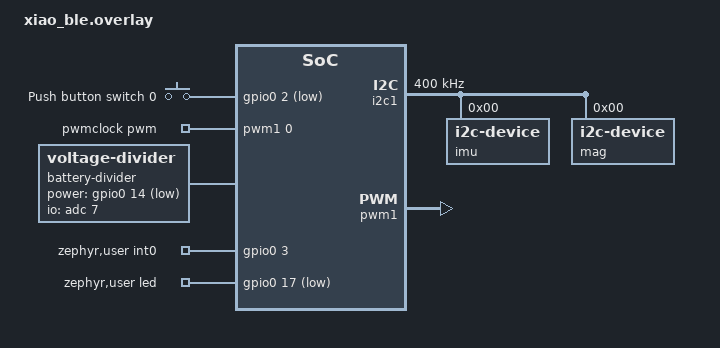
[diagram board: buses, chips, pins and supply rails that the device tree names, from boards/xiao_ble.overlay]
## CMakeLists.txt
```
#
# Copyright (c) 2023 Nordic Semiconductor
#
# SPDX-License-Identifier: LicenseRef-Nordic-5-Clause
#
cmake_minimum_required(VERSION 3.20.0)

find_package(Zephyr REQUIRED HINTS $ENV{ZEPHYR_BASE})
project(NONE)

# NORDIC SDK APP START
FILE(GLOB_RECURSE app_sources src/*.c)
target_sources(app PRIVATE ${app_sources})

# NORDIC SDK APP END

FILE(GLOB_RECURSE files Fusion/Fusion/*.c)
target_sources(app PRIVATE ${files})

#FILE(GLOB_RECURSE files NXP-ISSDK-SensorFusion/sources/*.c)
#target_sources(app PRIVATE ${files})

FILE(GLOB_RECURSE files vqf-c/src/*.c)
target_sources(app PRIVATE ${files})

target_include_directories(app PRIVATE src)
target_include_directories(app PRIVATE Fusion/Fusion)
#target_include_directories(app PRIVATE NXP-ISSDK-SensorFusion/sources)
target_include_directories(app PRIVATE vqf-c/src)

# Force recompile for updated build timestamp
add_custom_target(touch_util_h ALL
    COMMAND ${CMAKE_COMMAND} -E touch ${CMAKE_SOURCE_DIR}/src/build_defines.h
)
```

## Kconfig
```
#
# Copyright (c) 2023 Nordic Semiconductor
#
# SPDX-License-Identifier: LicenseRef-Nordic-5-Clause
#

source "Kconfig.zephyr"

menu "SlimeNRF"

config USE_SLIMENRF_CONSOLE
    bool "Use basic console"
    default y
    depends on USB_DEVICE_STACK
    help
        Use basic console for commands.

choice
	prompt "Battery voltage mapping"
    default BATTERY_NO_MAPPING

config BATTERY_USE_REG_BUCK_MAPPING
    bool "Use buck regulator mapping (3.7V battery, DCDC)"
    help
      Use a constant power mapping for battery voltage.
      Preffered for systems with a buck regulator.
      Measured at a system voltage of 3.0V.

config BATTERY_USE_REG_LDO_MAPPING
    bool "Use LDO linear regulator mapping (3.7V battery, LDO)"
    help
      Use a constant current mapping for battery voltage.
      Preferred for systems with a linear regulator.

config BATTERY_NO_MAPPING
    bool "Disable battery voltage mapping"
    help
      Always map to 100% battery. Disables battery monitoring.

endchoice

choice
	prompt "Status LED color mapping"
    default LED_TRI_COLOR

config LED_RGB_COLOR
    bool "Use RGB color mapping"
    help
        Use RGB or RG color mapping for LED status if available.

config LED_TRI_COLOR
    bool "Use default color mapping"
    help
        Use the default color mapping for LED status.

endchoice

config IGNORE_RESET
    bool "Ignore reset"
    default y
    help
        If sw0 is available, don't change any reset behavior.

config USER_SHUTDOWN
    bool "User shutdown support"
    default y
    help
        Allow user to use reset or sw0 to shutdown.

config USE_IMU_WAKE_UP
    bool "IMU wake up support"
    default y
    help
        Use IMU wake up state if IMU wake up is present.

config DELAY_SLEEP_ON_STATUS
    bool "Delay IMU wake up mode on status flags"
    default y
    depends on USE_IMU_WAKE_UP
    help
        Delay IMU wake up state if there is an active status flag or in pairing mode.

config WOM_USE_DCDC
    bool "Use DCDC in IMU wake up mode"
    depends on USE_IMU_WAKE_UP
    help
        Use DCDC instead of LDO in IMU wake up state if it is more efficient.

menu "Sensor power saving"

config SENSOR_LP_TIMEOUT
    int "Sensor low power delay (ms)"
    default 500
    help
        Low power timeout during no motion.

config SENSOR_USE_LOW_POWER_2
    bool "Use additional low power modes"
    help
        Use a higher latency sensor mode during no motion.

config USE_IMU_TIMEOUT
    bool "Use IMU wake up state"
    default y
    depends on USE_IMU_WAKE_UP
    help
        Use IMU wake up state during no motion.

config IMU_TIMEOUT_RAMP_MIN
    int "Sensor timeout minimum delay (ms)"
    default 1000
    depends on USE_IMU_TIMEOUT || SENSOR_USE_LOW_POWER_2
    help
        Minimum timeout during no motion.

config IMU_TIMEOUT_RAMP_MAX
    int "Sensor timeout maximum delay (ms)"
    default 15000
    depends on USE_IMU_TIMEOUT || SENSOR_USE_LOW_POWER_2
    help
        Maximum timeout during no motion.

config USE_ACTIVE_TIMEOUT
    bool "Use activity timeout"
    default y
    depends on USE_IMU_WAKE_UP || USER_SHUTDOWN
    help
        Delay IMU wake up state or user shutdown during activity.

choice 
    prompt "Activity timeout mode"
    default SLEEP_ON_ACTIVE_TIMEOUT
    depends on USE_ACTIVE_TIMEOUT

config SLEEP_ON_ACTIVE_TIMEOUT
    bool "IMU wake up"
    depends on USE_IMU_WAKE_UP
    help
        Use IMU wake up state when activity timeout elapses.

config SHUTDOWN_ON_ACTIVE_TIMEOUT
    bool "User shutdown"
    depends on USER_SHUTDOWN
    help
        Use user shutdown when activity timeout elapses.

endchoice

config ACTIVE_TIMEOUT_THRESHOLD
    int "Activity timeout threshold (ms)"
    default 15000
    depends on USE_ACTIVE_TIMEOUT
    help
        Trigger activity timeout after a certain threshold of activity.

config ACTIVE_TIMEOUT_DELAY
    int "Activity timeout delay (ms)"
    default 900000
    depends on USE_ACTIVE_TIMEOUT
    help
        Activity timeout duration when triggered.

endmenu

config SENSOR_ACCEL_ODR
    int "Accelerometer output data rate (Hz)"
    default 200
    help
        Requested accelerometer output data rate. Actual rate will be raised to the nearest supported rate.
        A higher rate will increase the time to read and process sensor data.

config SENSOR_GYRO_ODR
    int "Gyrometer output data rate (Hz)"
    default 800
    help
        Requested gyrometer output data rate. Actual rate will be raised to the nearest supported rate.
        A higher rate will increase the time to read and process sensor data.
        400Hz is recommended for IMUs with poor gyrometer rate noise density. (Ex. BMI270, LSM6DS3TR-C)

config SENSOR_USE_MAG
    bool "Magnetometer support"
    default y
    help
        Use magnetometer if it is present.

config USE_SENSOR_CLOCK
    bool "Use external IMU clock"
    default y
    help
        Use external IMU clock if it is present.

choice
	prompt "Sensor fusion"
    default SENSOR_USE_VQF
    help
        Select the sensor fusion method.

config SENSOR_USE_XIOFUSION
    bool "Use x-io Technologies Fusion"
    help
        Use x-io Technologies Fusion for sensor fusion.
        Based on Madgwick filter.

config SENSOR_USE_VQF
    bool "Use VQF"
    help
        Use VQF for sensor fusion.
        Based on Kalman filter.

endchoice

config SENSOR_USE_6_SIDE_CALIBRATION
    bool "Use 6-side calibration"
    default y
    depends on USE_SLIMENRF_CONSOLE
    help
        Use 6-side calibration for accelerometer.
        Calibration can be completed through the basic console.

config RADIO_TX_POWER
    int "Radio output power (dBm)"
    default 8
    help
        Radio output power level.
        A lower value may reduce power consumption.

endmenu
```

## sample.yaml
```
tests:
  common:
    platform_allow:
      - nrf52840dk/nrf52840
      - nrf52840dongle/nrf52840
      - nrf52dk/nrf52832
      - xiao_ble/nrf52840
      - xiao_ble/nrf52840/sense
      - nrf5340dk/nrf5340/cpuapp
      - nrf5340dk/nrf5340/cpunet
      - nrf54l15dk/nrf54l15/cpuapp
    sysbuild: true
```

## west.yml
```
manifest:
  version: "0.10"
  projects:

    # nRF-Connect SDK
    - name: sdk-nrf
      path: nrf
      url: https://github.com/nrfconnect/sdk-nrf.git
      revision: v2.9-branch
      import: true

    # SlimeVR-Tracker-nRF
    # Change the below to your repository if you are forking to build your custom firmware
    - name: SlimeVR-Tracker-nRF
      url: https://github.com/SlimeVR/SlimeVR-Tracker-nRF.git
      path: SlimeVR-Tracker-nRF
      revision: master

      # Stacked-SmolSlime
    - name: Stacked-SmolSlime
      url: https://github.com/LyallUlric/Stacked-SmolSlime.git
      path: Stacked-SmolSlime
      revision: master

    # vqf-c
    - name: vqf-c
      url: https://github.com/sctanf/vqf-c.git
      path: SlimeVR-Tracker-nRF/vqf-c
      revision: master

    # Fusion
    - name: Fusion
      url: https://github.com/xioTechnologies/Fusion.git
      path: SlimeVR-Tracker-nRF/Fusion
      revision: main
      
    # NXP-ISSDK-SensorFusion
    - name: NXP-ISSDK-SensorFusion
      url: https://github.com/sctanf/NXP-ISSDK-SensorFusion.git
      path: SlimeVR-Tracker-nRF/NXP-ISSDK-SensorFusion
      revision: main
```

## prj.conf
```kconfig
#CONFIG_NCS_SAMPLES_DEFAULTS
CONFIG_ASSERT=y
CONFIG_ASSERT_NO_COND_INFO=y
CONFIG_ASSERT_NO_MSG_INFO=y
CONFIG_RESET_ON_FATAL_ERROR=y

CONFIG_NCS_APPLICATION_BOOT_BANNER_STRING="SlimeVR-Tracker-nRF"
#CONFIG_NCS_BOOT_BANNER=n
CONFIG_BOOT_BANNER=n

CONFIG_ESB=y

CONFIG_ADC=y
CONFIG_ADC_NRFX_SAADC=y
CONFIG_FPU=y
CONFIG_I2C=y
CONFIG_PINCTRL=y

CONFIG_NVS=y
CONFIG_NVS_LOOKUP_CACHE=y
#not available on this sdk version
#CONFIG_NVS_INIT_BAD_MEMORY_REGION=y

CONFIG_POWEROFF=y

CONFIG_FLASH=y
CONFIG_FLASH_PAGE_LAYOUT=y
CONFIG_FLASH_MAP=y

CONFIG_SETTINGS=y
CONFIG_SETTINGS_RUNTIME=y
CONFIG_SETTINGS_NONE=y

CONFIG_MPU_ALLOW_FLASH_WRITE=y

CONFIG_RETAINED_MEM=y

CONFIG_USE_SEGGER_RTT=y
CONFIG_LOG=y
#CONFIG_PRINTK=y
CONFIG_LOG_MODE_DEFERRED=y
CONFIG_LOG_SPEED=y
CONFIG_LOG_BACKEND_RTT=y
CONFIG_CBPRINTF_FP_SUPPORT=y
CONFIG_ADC_LOG_LEVEL_OFF=y
CONFIG_LOG_FUNC_NAME_PREFIX_ERR=y
CONFIG_LOG_BUFFER_SIZE=1536
CONFIG_LOG_BACKEND_UART_AUTOSTART=n
CONFIG_LOG_PROCESS_THREAD_SLEEP_MS=50
CONFIG_LOG_PROCESS_THREAD_STACK_SIZE=1024

CONFIG_PWM=y
CONFIG_GPIO=y

CONFIG_CRC=y

CONFIG_NEWLIB_LIBC=y
CONFIG_NRFX_TIMER1=y

#speed up boot? (use internal rc oscillator)
#CONFIG_CLOCK_CONTROL_NRF_K32SRC_RC=y
#speed up boot? (synthesize lf clock)
CONFIG_CLOCK_CONTROL_NRF_K32SRC_SYNTH=y

# dont need it
CONFIG_CRYPTO=n

# set timeout for 10ms, may be able to reduce further
CONFIG_I2C_NRFX_TRANSFER_TIMEOUT=10

CONFIG_USB_DEVICE_HID=y
CONFIG_USB_DEVICE_VID=0x1209
CONFIG_USB_DEVICE_PID=0x7692
CONFIG_USB_HID_BOOT_PROTOCOL=y
CONFIG_USB_DEVICE_INITIALIZE_AT_BOOT=n
CONFIG_USB_CDC_ACM=y
CONFIG_UART_INTERRUPT_DRIVEN=y
CONFIG_USB_WORKQUEUE_STACK_SIZE=512

CONFIG_SERIAL=y
CONFIG_CONSOLE=y
CONFIG_UART_CONSOLE=y
CONFIG_UART_LINE_CTRL=y

CONFIG_LOG=y
CONFIG_USB_DRIVER_LOG_LEVEL_ERR=y
CONFIG_USB_DEVICE_LOG_LEVEL_ERR=y
CONFIG_USB_CDC_ACM_LOG_LEVEL_OFF=y

CONFIG_LOG_BACKEND_UART=y

CONFIG_CONSOLE_SUBSYS=y
CONFIG_CONSOLE_GETLINE=y

CONFIG_NVS_LOG_LEVEL_WRN=y
CONFIG_USB_HID_LOG_LEVEL_ERR=y

CONFIG_SYSTEM_WORKQUEUE_STACK_SIZE=256
CONFIG_MAIN_STACK_SIZE=512

CONFIG_THREAD_NAME=y

# because of icm, this will break things and needs to be raised to at least 3k
CONFIG_HEAP_MEM_POOL_SIZE=2048
CONFIG_ISR_STACK_SIZE=1024
```

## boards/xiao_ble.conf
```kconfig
CONFIG_USB_DEVICE_STACK=y
CONFIG_USB_DEVICE_MANUFACTURER="Seeed Studio"
CONFIG_USB_DEVICE_PRODUCT="SlimeNRF Tracker XIAO"

CONFIG_BATTERY_USE_REG_LDO_MAPPING=y
CONFIG_LED_RGB_COLOR=y

# matching FLASH_LOAD_OFFSET with pm_static, will overwrite SD
CONFIG_FLASH_LOAD_OFFSET=0x1000
```

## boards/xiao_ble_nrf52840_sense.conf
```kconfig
CONFIG_USB_DEVICE_STACK=y
CONFIG_USB_DEVICE_MANUFACTURER="Seeed Studio"
CONFIG_USB_DEVICE_PRODUCT="SlimeNRF Tracker XIAO Sense"

CONFIG_BATTERY_USE_REG_LDO_MAPPING=y
CONFIG_LED_RGB_COLOR=y

# matching FLASH_LOAD_OFFSET with pm_static, will overwrite SD
CONFIG_FLASH_LOAD_OFFSET=0x1000
```

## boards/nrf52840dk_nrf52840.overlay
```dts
&pinctrl {
	pwm1_default: pwm1_default {
		group1 {
			psels = <NRF_PSEL(PWM_OUT2, 0, 14)>;
			nordic,invert;
		};
	};

	pwm1_sleep: pwm1_sleep {
		group1 {
			psels = <NRF_PSEL(PWM_OUT2, 0, 14)>;
			low-power-enable;
		};
	};

	pwm2_default: pwm2_default {
		group1 {
			psels = <NRF_PSEL(PWM_OUT3, 0, 15)>;
			nordic,invert;
		};
	};

	pwm2_sleep: pwm2_sleep {
		group1 {
			psels = <NRF_PSEL(PWM_OUT3, 0, 15)>;
			low-power-enable;
		};
	};

};

/ {
	chosen {
		zephyr,console = &cdc_acm_uart0;
		zephyr,shell-uart = &cdc_acm_uart0;
	};

	pwmleds {
		pwm_led1: pwm_led_1 {
			pwms = <&pwm2 2 PWM_MSEC(20) PWM_POLARITY_INVERTED>;
		};
		pwm_led2: pwm_led_2 {
			pwms = <&pwm3 3 PWM_MSEC(20) PWM_POLARITY_INVERTED>;
		};
	};

	battery-divider {
		compatible = "voltage-divider";
		status = "okay";
		io-channels = <&adc 12>; // Measure VDDHDIV5
		output-ohms = <1>;
		full-ohms = <2>;
	};
};

&i2c0 {
	compatible = "nordic,nrf-twim";
	zephyr,concat-buf-size = <255>; // probable max for nrf52832
	zephyr,flash-buf-max-size = <255>; // probable max for nrf52832
	clock-frequency = <I2C_BITRATE_FAST>;

	imu: imu@0 { // any address out of range (00, 7f, etc. will search all addresses and stored address first if available, specify an address here to search first otherwise
		compatible = "i2c-device";
		label = "imu";
		reg = <0>;
	};

	mag: mag@0 {
		compatible = "i2c-device";
		label = "mag";
		reg = <0>;
	};

};

&pwm2 {
	status = "okay";
	pinctrl-0 = <&pwm1_default>;
	pinctrl-1 = <&pwm1_sleep>;
	pinctrl-names = "default", "sleep";
};

&pwm3 {
	status = "okay";
	pinctrl-0 = <&pwm2_default>;
	pinctrl-1 = <&pwm2_sleep>;
	pinctrl-names = "default", "sleep";
};

zephyr_udc0: &usbd {
	cdc_acm_uart0: cdc_acm_uart0 {
		compatible = "zephyr,cdc-acm-uart";
	};
};
```

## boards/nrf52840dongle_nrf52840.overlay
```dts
&red_pwm_led {
	pwms = <&pwm0 0 PWM_MSEC(1) PWM_POLARITY_INVERTED>;
};
&green_pwm_led {
	pwms = <&pwm0 1 PWM_MSEC(1) PWM_POLARITY_INVERTED>;
};
&blue_pwm_led {
	pwms = <&pwm0 2 PWM_MSEC(1) PWM_POLARITY_INVERTED>;
};

/ {
	battery-divider {
		compatible = "voltage-divider";
		status = "okay";
		io-channels = <&adc 12>; // Measure VDDHDIV5
		output-ohms = <1>;
		full-ohms = <2>;
	};
};

&i2c0 {
	compatible = "nordic,nrf-twim";
	zephyr,concat-buf-size = <255>; // probable max for nrf52832
	zephyr,flash-buf-max-size = <255>; // probable max for nrf52832
	clock-frequency = <I2C_BITRATE_FAST>;

	imu: imu@0 { // any address out of range (00, 7f, etc. will search all addresses and stored address first if available, specify an address here to search first otherwise
		compatible = "i2c-device";
		label = "imu";
		reg = <0>;
	};

	mag: mag@0 {
		compatible = "i2c-device";
		label = "mag";
		reg = <0>;
	};

};
```

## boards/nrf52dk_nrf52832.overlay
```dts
&pwm0_default {
	group1 {
		psels = <NRF_PSEL(PWM_OUT0, 0, 13)>,
			<NRF_PSEL(PWM_OUT1, 0, 14)>,
			<NRF_PSEL(PWM_OUT2, 0, 15)>;
		nordic,drive-mode = <NRF_DRIVE_D0S1>;
		nordic,invert;
	};
};

&pwm0_sleep {
	group1 {
		psels = <NRF_PSEL(PWM_OUT0, 0, 13)>,
			<NRF_PSEL(PWM_OUT1, 0, 14)>,
			<NRF_PSEL(PWM_OUT2, 0, 15)>;
	};
};

/ {
	pwmleds {
		pwm_led1: pwm_led_1 {
			pwms = <&pwm0 1 PWM_MSEC(20) PWM_POLARITY_INVERTED>;
		};
		pwm_led2: pwm_led_2 {
			pwms = <&pwm0 2 PWM_MSEC(20) PWM_POLARITY_INVERTED>;
		};
	};

	battery-divider {
		compatible = "voltage-divider";
		status = "okay";
		io-channels = <&adc 12>; // Measure VDDHDIV5
		output-ohms = <1>;
		full-ohms = <2>;
	};

	aliases {
		pwm-led1 = &pwm_led1;
		pwm-led2 = &pwm_led2;
	};
};

&i2c0 {
	compatible = "nordic,nrf-twim";
	zephyr,concat-buf-size = <255>; // probable max for nrf52832
	zephyr,flash-buf-max-size = <255>; // probable max for nrf52832
	clock-frequency = <I2C_BITRATE_FAST>;

	imu: imu@0 { // any address out of range (00, 7f, etc. will search all addresses and stored address first if available, specify an address here to search first otherwise
		compatible = "i2c-device";
		label = "imu";
		reg = <0>;
	};

	mag: mag@0 {
		compatible = "i2c-device";
		label = "mag";
		reg = <0>;
	};

};
```

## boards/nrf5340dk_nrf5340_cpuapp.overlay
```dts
&pwm0_default {
	group1 {
		psels = <NRF_PSEL(PWM_OUT0, 0, 13)>,
			<NRF_PSEL(PWM_OUT1, 0, 14)>,
			<NRF_PSEL(PWM_OUT2, 0, 15)>;
		nordic,drive-mode = <NRF_DRIVE_D0S1>;
		nordic,invert;
	};
};

&pwm0_sleep {
	group1 {
		psels = <NRF_PSEL(PWM_OUT0, 0, 13)>,
			<NRF_PSEL(PWM_OUT1, 0, 14)>,
			<NRF_PSEL(PWM_OUT2, 0, 15)>;
	};
};

/ {
	chosen {
		zephyr,console = &cdc_acm_uart0;
		zephyr,shell-uart = &cdc_acm_uart0;
	};

	pwmleds {
		pwm_led1: pwm_led_1 {
			pwms = <&pwm0 1 PWM_MSEC(20) PWM_POLARITY_INVERTED>;
		};
		pwm_led2: pwm_led_2 {
			pwms = <&pwm0 2 PWM_MSEC(20) PWM_POLARITY_INVERTED>;
		};
	};

	battery-divider {
		compatible = "voltage-divider";
		status = "okay";
		io-channels = <&adc 12>; // Measure VDDHDIV5
		output-ohms = <1>;
		full-ohms = <2>;
	};

	aliases {
		pwm-led1 = &pwm_led1;
		pwm-led2 = &pwm_led2;
	};
};

&i2c0 {
	compatible = "nordic,nrf-twim";
	zephyr,concat-buf-size = <255>; // probable max for nrf52832
	zephyr,flash-buf-max-size = <255>; // probable max for nrf52832
	clock-frequency = <I2C_BITRATE_FAST>;

	imu: imu@0 { // any address out of range (00, 7f, etc. will search all addresses and stored address first if available, specify an address here to search first otherwise
		compatible = "i2c-device";
		label = "imu";
		reg = <0>;
	};

	mag: mag@0 {
		compatible = "i2c-device";
		label = "mag";
		reg = <0>;
	};

};

zephyr_udc0: &usbd {
	cdc_acm_uart0: cdc_acm_uart0 {
		compatible = "zephyr,cdc-acm-uart";
	};
};
```

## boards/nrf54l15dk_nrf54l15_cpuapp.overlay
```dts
&pinctrl {
	i2c0_default: i2c0_default {
		group1 {
			psels = <NRF_PSEL(TWIM_SDA, 1, 5)>,
				<NRF_PSEL(TWIM_SCL, 1, 7)>;
		};
	};

	i2c0_sleep: i2c0_sleep {
		group1 {
			psels = <NRF_PSEL(TWIM_SDA, 1, 5)>,
				<NRF_PSEL(TWIM_SCL, 1, 7)>;
			low-power-enable;
		};
	};

};

&pwm20_default {
	group1 {
		psels = <NRF_PSEL(PWM_OUT0, 1, 10)>,
			<NRF_PSEL(PWM_OUT1, 1, 14)>;
	};
};

&pwm20_sleep {
	group1 {
		psels = <NRF_PSEL(PWM_OUT0, 1, 10)>,
			<NRF_PSEL(PWM_OUT1, 1, 14)>;
	};
};

/ {
	pwmleds {
		pwm_led0: pwm_led_0 {
			pwms = <&pwm20 1 PWM_MSEC(20) PWM_POLARITY_NORMAL>;
		};
	};

	battery-divider {
		compatible = "voltage-divider";
		status = "okay";
		io-channels = <&adc 12>; // Measure VDDHDIV5
		output-ohms = <1>;
		full-ohms = <2>;
	};
};

&i2c20 {
	compatible = "nordic,nrf-twim";
	status = "okay";
	zephyr,concat-buf-size = <255>; // probable max for nrf52832
	zephyr,flash-buf-max-size = <255>; // probable max for nrf52832
	clock-frequency = <I2C_BITRATE_FAST>;
	pinctrl-0 = <&i2c0_default>;
	pinctrl-1 = <&i2c0_sleep>;
	pinctrl-names = "default", "sleep";

	imu: imu@0 { // any address out of range (00, 7f, etc. will search all addresses and stored address first if available, specify an address here to search first otherwise
		compatible = "i2c-device";
		label = "imu";
		reg = <0>;
	};

	mag: mag@0 {
		compatible = "i2c-device";
		label = "mag";
		reg = <0>;
	};

};

&uart20 {
	status = "disabled";
};
```

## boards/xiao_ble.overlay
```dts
&pinctrl {
	pwm1_default: pwm1_default {
		group1 {
			psels = <NRF_PIN_DISCONNECTED>;
		};
	};

	pwm1_sleep: pwm1_sleep {
		group1 {
			psels = <NRF_PIN_DISCONNECTED>;
			low-power-enable;
		};
	};
};

&i2c0_default {
	group1 {
		bias-disable;
	};
};

&i2c0_sleep {
	group1 {
		bias-disable;
	};
};

&i2c1_default {
	group1 {
		bias-disable;
	};
};

&i2c1_sleep {
	group1 {
		bias-disable;
	};
};

&pwm0_default {
	group1 {
		psels = <NRF_PSEL(PWM_OUT0, 0, 26)>,
			<NRF_PSEL(PWM_OUT1, 0, 30)>,
			<NRF_PSEL(PWM_OUT2, 0, 6)>;
		nordic,drive-mode = <NRF_DRIVE_D0S1>;
		nordic,invert;
	};
};

&pwm0_sleep {
	group1 {
		psels = <NRF_PSEL(PWM_OUT0, 0, 26)>,
			<NRF_PSEL(PWM_OUT1, 0, 30)>,
			<NRF_PSEL(PWM_OUT2, 0, 6)>;
	};
};

/ {
	pwmleds {
		pwm_led0: pwm_led_0 {
			pwms = <&pwm0 0 PWM_MSEC(1) PWM_POLARITY_INVERTED>;
		};
		pwm_led1: pwm_led_1 {
			pwms = <&pwm0 1 PWM_MSEC(1) PWM_POLARITY_INVERTED>;
		};
		pwm_led2: pwm_led_2 {
			pwms = <&pwm0 2 PWM_MSEC(1) PWM_POLARITY_INVERTED>;
		};
	};

	buttons {
		compatible = "gpio-keys";
		button0: button_0 {
			gpios = <&gpio0 2 (GPIO_PULL_UP | GPIO_ACTIVE_LOW)>;
			label = "Push button switch 0";
		};
	};

	aliases {
		// sw0 = &button0; // Uncomment to Enable SW0
		pwm-led1 = &pwm_led1;
		pwm-led2 = &pwm_led2;
	};

	pwmclock: pwmclock {
		compatible = "pwm-clock";
		#clock-cells = <1>;
		pwms = <&pwm1 0 PWM_HZ(32768) PWM_POLARITY_NORMAL>;
	};

	battery-divider {
        compatible = "voltage-divider";
        status = "okay";
        io-channels = <&adc 7>;
        output-ohms = <510000>;
        full-ohms = <(1000000+510000)>;
        power-gpios = <&gpio0 14 (GPIO_OPEN_DRAIN|GPIO_ACTIVE_LOW)>;
	};

	zephyr,user {
		int0-gpios = <&gpio0 3 0>;
		led-gpios = <&gpio0 17 (GPIO_OPEN_DRAIN|GPIO_ACTIVE_LOW)>;
		// clk-gpios = <&gpio0 28 GPIO_OPEN_DRAIN>; // Uncomment and set to correct pin if using an external clock (crystal oscillator)
	};

};

&i2c1 {
	compatible = "nordic,nrf-twim";
	zephyr,concat-buf-size = <255>; // probable max for nrf52832
	zephyr,flash-buf-max-size = <255>; // probable max for nrf52832
	clock-frequency = <I2C_BITRATE_FAST>;

	imu: imu@0 { // any address out of range (00, 7f, etc. will search all addresses and stored address first if available, specify an address here to search first otherwise
		compatible = "i2c-device";
		label = "imu";
		reg = <0>;
	};

	mag: mag@0 {
		compatible = "i2c-device";
		label = "mag";
		reg = <0>;
	};

};

&pwm1 {
	status = "okay";
	pinctrl-0 = <&pwm1_default>;
	pinctrl-1 = <&pwm1_sleep>;
	pinctrl-names = "default", "sleep";
};

&cryptocell {
	status = "disabled";
};

&nfct {
	status = "disabled";
};
```

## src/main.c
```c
/*
	SlimeVR Code is placed under the MIT license
	Copyright (c) 2025 SlimeVR Contributors

	Permission is hereby granted, free of charge, to any person obtaining a copy
	of this software and associated documentation files (the "Software"), to deal
	in the Software without restriction, including without limitation the rights
	to use, copy, modify, merge, publish, distribute, sublicense, and/or sell
	copies of the Software, and to permit persons to whom the Software is
	furnished to do so, subject to the following conditions:

	The above copyright notice and this permission notice shall be included in
	all copies or substantial portions of the Software.

	THE SOFTWARE IS PROVIDED "AS IS", WITHOUT WARRANTY OF ANY KIND, EXPRESS OR
	IMPLIED, INCLUDING BUT NOT LIMITED TO THE WARRANTIES OF MERCHANTABILITY,
	FITNESS FOR A PARTICULAR PURPOSE AND NONINFRINGEMENT. IN NO EVENT SHALL THE
	AUTHORS OR COPYRIGHT HOLDERS BE LIABLE FOR ANY CLAIM, DAMAGES OR OTHER
	LIABILITY, WHETHER IN AN ACTION OF CONTRACT, TORT OR OTHERWISE, ARISING FROM,
	OUT OF OR IN CONNECTION WITH THE SOFTWARE OR THE USE OR OTHER DEALINGS IN
	THE SOFTWARE.
*/
#include "globals.h"
#include "system/system.h"
//#include "timer.h"
#include "connection/esb.h"
#include "sensor/sensor.h"

#include <zephyr/sys/reboot.h>

#define DFU_DBL_RESET_MEM 0x20007F7C
#define DFU_DBL_RESET_APP 0x4ee5677e

static uint32_t *dbl_reset_mem = ((uint32_t *)DFU_DBL_RESET_MEM); // retained

LOG_MODULE_REGISTER(main, LOG_LEVEL_INF);

#if DT_NODE_HAS_PROP(DT_ALIAS(sw0), gpios)
#define BUTTON_EXISTS true
#endif

#define DFU_EXISTS CONFIG_BUILD_OUTPUT_UF2 || CONFIG_BOARD_HAS_NRF5_BOOTLOADER
#define ADAFRUIT_BOOTLOADER CONFIG_BUILD_OUTPUT_UF2

int main(void) {
#if IGNORE_RESET && BUTTON_EXISTS
	bool reset_pin_reset = false;
#else
#ifdef NRF_RESET
	bool reset_pin_reset = NRF_RESET->RESETREAS & 0x01;
	NRF_RESET->RESETREAS = NRF_RESET->RESETREAS;  // Clear RESETREAS
#else
	bool reset_pin_reset = NRF_POWER->RESETREAS & 0x01;
	NRF_POWER->RESETREAS = NRF_POWER->RESETREAS;  // Clear RESETREAS
#endif
#endif

//	start_time = k_uptime_get(); // Need to get start time for imu startup delay
	set_led(SYS_LED_PATTERN_ON, SYS_LED_PRIORITY_BOOT); // Boot LED

	uint8_t reboot_counter = reboot_counter_read();
	bool booting_from_shutdown = !reboot_counter && (reset_pin_reset || button_read()); // 0 means from user shutdown or failed ram validation

	if (booting_from_shutdown) {
		set_led(SYS_LED_PATTERN_ONESHOT_POWERON, SYS_LED_PRIORITY_BOOT);
	}

	bool docked = dock_read();

	uint8_t reset_mode = -1;

	if (reboot_counter == 0) {
		reboot_counter = 100;
	} else if (reboot_counter > 200) {
		reboot_counter = 200;  // How did you get here
	}
	reset_mode = reboot_counter - 100;
	if ((reset_pin_reset || button_read())
		&& !docked)  // Count pin resets while not docked
	{
		reboot_counter++;
		reboot_counter_write(reboot_counter);
		LOG_INF("Reset count: %u", reboot_counter);
#if ADAFRUIT_BOOTLOADER && !(IGNORE_RESET && BUTTON_EXISTS) // Using Adafruit bootloader, skip DFU if reset button is in use
		(*dbl_reset_mem) = DFU_DBL_RESET_APP; // Skip DFU
#endif
		k_msleep(1000); // Wait before clearing counter and continuing
	}
	reboot_counter_write(100);
	if (!reset_pin_reset && !button_read() && reset_mode == 0) // Only need to check once, if the button is pressed again an interrupt is triggered from before
		reset_mode = -1; // Cancel reset_mode (shutdown)

#if USER_SHUTDOWN_ENABLED
	bool charging = chg_read();
	bool charged = stby_read();
	bool plugged = vin_read();

	if (reset_mode == 0 && !booting_from_shutdown && !charging && !charged
		&& !plugged) {  // Reset mode user shutdown, only if unplugged and undocked
		sys_user_shutdown();
	}
#endif

	if (!booting_from_shutdown) {  // ONESHOT_POWERON automatically sets LED off
		set_led(SYS_LED_PATTERN_OFF, SYS_LED_PRIORITY_BOOT);
	}

	sys_reset_mode(reset_mode);

	k_msleep(1
	);  // TODO: fixes some weird issue with the device bootlooping, what is the cause

	clocks_start();

	esb_pair();

	esb_initialize(true);
	//timer_init();
// 1ms to start ESB

	return 0;
}
```

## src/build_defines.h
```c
/*
	SlimeVR Code is placed under the MIT license
	Copyright (c) 2025 SlimeVR Contributors

	Permission is hereby granted, free of charge, to any person obtaining a copy
	of this software and associated documentation files (the "Software"), to deal
	in the Software without restriction, including without limitation the rights
	to use, copy, modify, merge, publish, distribute, sublicense, and/or sell
	copies of the Software, and to permit persons to whom the Software is
	furnished to do so, subject to the following conditions:

	The above copyright notice and this permission notice shall be included in
	all copies or substantial portions of the Software.

	THE SOFTWARE IS PROVIDED "AS IS", WITHOUT WARRANTY OF ANY KIND, EXPRESS OR
	IMPLIED, INCLUDING BUT NOT LIMITED TO THE WARRANTIES OF MERCHANTABILITY,
	FITNESS FOR A PARTICULAR PURPOSE AND NONINFRINGEMENT. IN NO EVENT SHALL THE
	AUTHORS OR COPYRIGHT HOLDERS BE LIABLE FOR ANY CLAIM, DAMAGES OR OTHER
	LIABILITY, WHETHER IN AN ACTION OF CONTRACT, TORT OR OTHERWISE, ARISING FROM,
	OUT OF OR IN CONNECTION WITH THE SOFTWARE OR THE USE OR OTHER DEALINGS IN
	THE SOFTWARE.
*/
#include "sensor/sensors_enum.h"
#include "system/status.h"

#include "app_version.h"

#define FW_NAME CONFIG_NCS_APPLICATION_BOOT_BANNER_STRING
#define FW_VERSION_MAJOR APP_VERSION_MAJOR
#define FW_VERSION_MINOR APP_VERSION_MINOR
#define FW_VERSION_PATCH APP_PATCHLEVEL

static uint8_t get_server_constant_imu_id(int id) __attribute__((unused));
static uint8_t get_server_constant_mag_id(int id) __attribute__((unused));
static uint8_t get_server_constant_tracker_status(int status) __attribute__((unused));

// constants from server, should include BoardType, MCUType, IMUType, MagType (not yet)
// https://github.com/SlimeVR/SlimeVR-Server/blob/main/server/core/src/main/java/dev/slimevr/tracking/trackers/udp/FirmwareConstants.kt
#define SVR_IMU_UNKNOWN 0
#define SVR_IMU_MPU9250 1
#define SVR_IMU_MPU6500 2
#define SVR_IMU_BNO080 3
#define SVR_IMU_BNO085 4
#define SVR_IMU_BNO055 5
#define SVR_IMU_MPU6050 6
#define SVR_IMU_BNO086 7
#define SVR_IMU_BMI160 8
#define SVR_IMU_ICM20948 9
#define SVR_IMU_ICM42688 10
#define SVR_IMU_BMI270 11
#define SVR_IMU_LSM6DS3TRC 12
#define SVR_IMU_LSM6DSV 13
#define SVR_IMU_LSM6DSO 14
#define SVR_IMU_LSM6DSR 15

#define SVR_BOARD_UNKNOWN 0
#define SVR_BOARD_SLIMEVR_LEGACY 1
#define SVR_BOARD_SLIMEVR_DEV 2
#define SVR_BOARD_NODEMCU 3
#define SVR_BOARD_CUSTOM 4
#define SVR_BOARD_WROOM32 5
#define SVR_BOARD_WEMOSD1MINI 6
#define SVR_BOARD_TTGO_TBASE 7
#define SVR_BOARD_ESP01 8
#define SVR_BOARD_SLIMEVR 9
#define SVR_BOARD_LOLIN_C3_MINI 10
#define SVR_BOARD_BEETLE32C32 11
#define SVR_BOARD_ES32C3DEVKITM1 12
#define SVR_BOARD_OWOTRACK 13
#define SVR_BOARD_WRANGLER 14
#define SVR_BOARD_MOCOPI 15
#define SVR_BOARD_WEMOSWROOM02 16
#define SVR_BOARD_XIAO_ESP32C3 17
#define SVR_BOARD_HARITORA 18
#define SVR_BOARD_DEV_RESERVED 250

#define SVR_MCU_UNKNOWN 0
#define SVR_MCU_ESP8266 1
#define SVR_MCU_ESP32 2
#define SVR_MCU_OWOTRACK_ANDROID 3
#define SVR_MCU_WRANGLER 4
#define SVR_MCU_OWOTRACK_IOS 5
#define SVR_MCU_ESP32_C3 6
#define SVR_MCU_MOCOPI 7
#define SVR_MCU_HARITORA 8
#define SVR_MCU_DEV_RESERVED 250
// https://github.com/SlimeVR/SlimeVR-Server/blob/main/server/core/src/main/java/dev/slimevr/tracking/trackers/TrackerStatus.kt
#define SVR_STATUS_DISCONNECTED 0
#define SVR_STATUS_OK 1
#define SVR_STATUS_BUSY 2
#define SVR_STATUS_ERROR 3
#define SVR_STATUS_OCCLUDED 4
#define SVR_STATUS_TIMED_OUT 5

// does not exist in server enums yet
#if CONFIG_BOARD_NRF52DK
#define FW_BOARD 0
#elif CONFIG_BOARD_NRF54L15DK
#define FW_BOARD 0
#elif CONFIG_BOARD_NRF5340DK
#define FW_BOARD 0
#elif CONFIG_BOARD_NRF52840DK
#define FW_BOARD 0
#elif CONFIG_BOARD_NRF52840DONGLE
#define FW_BOARD 0
#elif CONFIG_BOARD_SLIMENRF_R1
#define FW_BOARD 0
#elif CONFIG_BOARD_SLIMENRF_R2
#define FW_BOARD 0
#elif CONFIG_BOARD_SLIMENRF_R3 || CONFIG_BOARD_SLIMENRF_R3_UF2
#define FW_BOARD 0
#elif CONFIG_BOARD_SLIMEVRMINI_P1_UF2
#define FW_BOARD 0
#elif CONFIG_BOARD_SLIMEVRMINI_P2_UF2
#define FW_BOARD 0
#elif CONFIG_BOARD_SUPERMINI_UF2
#define FW_BOARD 0
#elif CONFIG_BOARD_XIAO_BLE
#define FW_BOARD 0
#else
#define FW_BOARD 0
#endif

// does not exist in server enums yet
#if CONFIG_SOC_NRF54L15
#define FW_MCU 0
#elif CONFIG_SOC_NRF54L10
#define FW_MCU 0
#elif CONFIG_SOC_NRF54L05
#define FW_MCU 0
#elif CONFIG_SOC_NRF5340
#define FW_MCU 0
#elif CONFIG_SOC_NRF52840
#define FW_MCU 0
#elif CONFIG_SOC_NRF52833
#define FW_MCU 0
#elif CONFIG_SOC_NRF52820
#define FW_MCU 0
#elif CONFIG_SOC_NRF52811
#define FW_MCU 0
#elif CONFIG_SOC_NRF52810
#define FW_MCU 0
#elif CONFIG_SOC_NRF52832
#define FW_MCU 0
#elif CONFIG_SOC_NRF52805
#define FW_MCU 0
#else
#define FW_MCU 0
#endif

static uint8_t get_server_constant_imu_id(int id)
{
	switch (id)
	{
	case IMU_BMI160:
		return SVR_IMU_BMI160;
	case IMU_BMI270:
		return SVR_IMU_BMI270;
	case IMU_BMI323:
		return 0;
	case IMU_MPU6050:
		return SVR_IMU_MPU6050;
	case IMU_MPU6500:
		return SVR_IMU_MPU6500;
	case IMU_MPU9250:
		return SVR_IMU_MPU9250;
	case IMU_ICM20948:
		return SVR_IMU_ICM20948;
	case IMU_ICM42688:
		return SVR_IMU_ICM42688;
	case IMU_ICM45686:
		return 0;
	case IMU_ISM330IS:
		return 0;
	case IMU_LSM6DS3:
		return 0;
	case IMU_LSM6DSM:
		return SVR_IMU_LSM6DS3TRC;
	case IMU_LSM6DSR:
		return SVR_IMU_LSM6DSR;
	case IMU_LSM6DSO:
		return SVR_IMU_LSM6DSO;
	case IMU_LSM6DST:
		return 0;
	case IMU_LSM6DSV:
		return SVR_IMU_LSM6DSV;
	case IMU_ISM330BX:
		return SVR_IMU_LSM6DSV; // not really
	default:
		return SVR_IMU_UNKNOWN;
	}
}

// does not exist in server enums yet
static uint8_t get_server_constant_mag_id(int id)
{
	switch (id)
	{
	case MAG_HMC5883L:
		return 0;
	case MAG_QMC5883L:
		return 0;
	case MAG_AK8963:
		return 0;
	case MAG_AK09916:
		return 0;
	case MAG_AK09940:
		return 0;
	case MAG_BMM150:
		return 0;
	case MAG_BMM350:
		return 0;
	case MAG_IST8306:
		return 0;
	case MAG_IST8308:
		return 0;
	case MAG_IST8320:
		return 0;
	case MAG_IST8321:
		return 0;
	case MAG_LIS2MDL:
		return 0;
	case MAG_LIS3MDL:
		return 0;
	case MAG_MMC34160PJ:
		return 0;
	case MAG_MMC3630KJ:
		return 0;
	case MAG_MMC5633NJL:
		return 0;
	case MAG_MMC5616WA:
		return 0;
	case MAG_MMC5983MA:
		return 0;
	default:
		return 0;
	}
}

static uint8_t get_server_constant_tracker_status(int status)
{
	if (status & (SYS_STATUS_SENSOR_ERROR | SYS_STATUS_SYSTEM_ERROR))
		return SVR_STATUS_ERROR;
	else
		return SVR_STATUS_OK;
}

// https://stackoverflow.com/questions/11697820/how-to-use-date-and-time-predefined-macros-in-as-two-integers-then-stri
#define COMPUTE_BUILD_YEAR \
	( \
		(__DATE__[ 7] - '0') * 1000 + \
		(__DATE__[ 8] - '0') *  100 + \
		(__DATE__[ 9] - '0') *   10 + \
		(__DATE__[10] - '0') \
	)

#define COMPUTE_BUILD_DAY \
	( \
		((__DATE__[4] >= '0') ? (__DATE__[4] - '0') * 10 : 0) + \
		(__DATE__[5] - '0') \
	)

#define BUILD_MONTH_IS_JAN (__DATE__[0] == 'J' && __DATE__[1] == 'a' && __DATE__[2] == 'n')
#define BUILD_MONTH_IS_FEB (__DATE__[0] == 'F')
#define BUILD_MONTH_IS_MAR (__DATE__[0] == 'M' && __DATE__[1] == 'a' && __DATE__[2] == 'r')
#define BUILD_MONTH_IS_APR (__DATE__[0] == 'A' && __DATE__[1] == 'p')
#define BUILD_MONTH_IS_MAY (__DATE__[0] == 'M' && __DATE__[1] == 'a' && __DATE__[2] == 'y')
#define BUILD_MONTH_IS_JUN (__DATE__[0] == 'J' && __DATE__[1] == 'u' && __DATE__[2] == 'n')
#define BUILD_MONTH_IS_JUL (__DATE__[0] == 'J' && __DATE__[1] == 'u' && __DATE__[2] == 'l')
#define BUILD_MONTH_IS_AUG (__DATE__[0] == 'A' && __DATE__[1] == 'u')
#define BUILD_MONTH_IS_SEP (__DATE__[0] == 'S')
#define BUILD_MONTH_IS_OCT (__DATE__[0] == 'O')
#define BUILD_MONTH_IS_NOV (__DATE__[0] == 'N')
#define BUILD_MONTH_IS_DEC (__DATE__[0] == 'D')

#define COMPUTE_BUILD_MONTH \
	( \
		(BUILD_MONTH_IS_JAN) ?  1 : \
		(BUILD_MONTH_IS_FEB) ?  2 : \
		(BUILD_MONTH_IS_MAR) ?  3 : \
		(BUILD_MONTH_IS_APR) ?  4 : \
		(BUILD_MONTH_IS_MAY) ?  5 : \
		(BUILD_MONTH_IS_JUN) ?  6 : \
		(BUILD_MONTH_IS_JUL) ?  7 : \
		(BUILD_MONTH_IS_AUG) ?  8 : \
		(BUILD_MONTH_IS_SEP) ?  9 : \
		(BUILD_MONTH_IS_OCT) ? 10 : \
		(BUILD_MONTH_IS_NOV) ? 11 : \
		(BUILD_MONTH_IS_DEC) ? 12 : \
		/* error default */  99 \
	)

#define COMPUTE_BUILD_HOUR ((__TIME__[0] - '0') * 10 + __TIME__[1] - '0')
#define COMPUTE_BUILD_MIN  ((__TIME__[3] - '0') * 10 + __TIME__[4] - '0')
#define COMPUTE_BUILD_SEC  ((__TIME__[6] - '0') * 10 + __TIME__[7] - '0')

#define BUILD_DATE_IS_BAD (__DATE__[0] == '?')

#define BUILD_YEAR  ((BUILD_DATE_IS_BAD) ? 99 : COMPUTE_BUILD_YEAR)
#define BUILD_MONTH ((BUILD_DATE_IS_BAD) ? 99 : COMPUTE_BUILD_MONTH)
#define BUILD_DAY   ((BUILD_DATE_IS_BAD) ? 99 : COMPUTE_BUILD_DAY)

#define BUILD_TIME_IS_BAD (__TIME__[0] == '?')

#define BUILD_HOUR  ((BUILD_TIME_IS_BAD) ? 99 :  COMPUTE_BUILD_HOUR)
#define BUILD_MIN   ((BUILD_TIME_IS_BAD) ? 99 :  COMPUTE_BUILD_MIN)
#define BUILD_SEC   ((BUILD_TIME_IS_BAD) ? 99 :  COMPUTE_BUILD_SEC)

#define TOSTRING(x) STRINGIFY(x)

#define FW_STRING FW_NAME " " APP_VERSION_EXTENDED_STRING " "\
	"(Commit " TOSTRING(APP_BUILD_VERSION) ", Build %d-%02d-%02d %02d:%02d:%02d)\n",\
	BUILD_YEAR, BUILD_MONTH, BUILD_DAY, BUILD_HOUR, BUILD_MIN, BUILD_SEC
```

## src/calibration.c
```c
#include "globals.h"
#include "system.h"
#include "util.h"

#include <math.h>

#include "magneto/magneto1_4.h"

#include "calibration.h"

static float accelBias[3] = {0}, gyroBias[3] = {0}, magBias[3] = {0}; // offset biases

static float magBAinv[4][3];
static float accBAinv[4][3];

static int mag_progress;
static int last_mag_progress;
static int64_t mag_progress_time;

static double ata[100]; // init calibration
static double norm_sum;
static double sample_count;

LOG_MODULE_REGISTER(calibration, LOG_LEVEL_INF);

float *sensor_calibration_get_accelBias()
{
    return accelBias;
}

float (*sensor_calibration_get_accBAinv())[3]
{
	return accBAinv;
}

float *sensor_calibration_get_gyroBias()
{
    return gyroBias;
}

float *sensor_calibration_get_magBias()
{
    return magBias;
}

float (*sensor_calibration_get_magBAinv())[3]
{
    return magBAinv;
}

int sensor_calibration_get_mag_progress()
{
    return mag_progress;
}

bool wait_for_motion(const sensor_imu_t *sensor_imu, const struct i2c_dt_spec *dev_i2c, bool motion, int samples)
{
	uint8_t counts = 0;
	float a[3], last_a[3];
	sensor_imu->accel_read(dev_i2c, last_a);
	for (int i = 0; i < samples + counts; i++)
	{
		LOG_INF("Accelerometer: %.5f %.5f %.5f", (double)a[0], (double)a[1], (double)a[2]);
		k_msleep(500);
		sensor_imu->accel_read(dev_i2c, a);
		if (v_epsilon(a, last_a, 0.1) != motion)
		{
			LOG_INF("No motion detected");
			counts++;
			if (counts == 2)
				return true;
		}
		else
		{
			counts = 0;
		}
		memcpy(last_a, a, sizeof(a));
	}
	LOG_INF("Motion detected");
	return false;
}

void sensor_calibration_read(void)
{
	memcpy(accelBias, retained.accelBias, sizeof(accelBias));
	memcpy(gyroBias, retained.gyroBias, sizeof(gyroBias));
	memcpy(magBias, retained.magBias, sizeof(magBias));
	memcpy(magBAinv, retained.magBAinv, sizeof(magBAinv));
	memcpy(accBAinv, retained.accBAinv, sizeof(accBAinv));
}

void sensor_calibrate_imu(const sensor_imu_t *sensor_imu, const struct i2c_dt_spec *dev_i2c)
{
//	float last_accelBias[3], last_gyroBias[3];
//	memcpy(last_accelBias, accelBias, sizeof(accelBias));
//	memcpy(last_gyroBias, gyroBias, sizeof(gyroBias));
	LOG_INF("Calibrating main accelerometer and gyroscope zero rate offset");
	LOG_INF("Rest the device on a stable surface");

	set_led(SYS_LED_PATTERN_LONG, SYS_LED_PRIORITY_SENSOR);
	if (!wait_for_motion(sensor_imu, dev_i2c, false, 6)) // Wait for accelerometer to settle, timeout 3s
	{
		set_led(SYS_LED_PATTERN_OFF, SYS_LED_PRIORITY_SENSOR);
		return; // Timeout, calibration failed
	}

	set_led(SYS_LED_PATTERN_ON, SYS_LED_PRIORITY_SENSOR);
	k_msleep(500); // Delay before beginning acquisition

	LOG_INF("Reading data");
	sensor_calibration_clear();
	if (sensor_offsetBias(sensor_imu, dev_i2c, accelBias, gyroBias)) // This takes about 3s
	{
		LOG_INF("Motion detected");
		accelBias[0] = NAN; // invalidate calibration
	}
	else
	{
		sys_write(MAIN_ACCEL_BIAS_ID, &retained.accelBias, accelBias, sizeof(accelBias));
		sys_write(MAIN_GYRO_BIAS_ID, &retained.gyroBias, gyroBias, sizeof(gyroBias));
#if !CONFIG_SENSOR_USE_6_SIDE_CALIBRATION
		LOG_INF("Accelerometer bias: %.5f %.5f %.5f", (double)accelBias[0], (double)accelBias[1], (double)accelBias[2]);
#endif
		LOG_INF("Gyroscope bias: %.5f %.5f %.5f", (double)gyroBias[0], (double)gyroBias[1], (double)gyroBias[2]);
	}
	if (sensor_calibration_validate())
	{
		set_led(SYS_LED_PATTERN_OFF, SYS_LED_PRIORITY_SENSOR);
//		LOG_INF("Restoring previous calibration");
//		memcpy(accelBias, last_accelBias, sizeof(accelBias)); // restore last calibration
//		memcpy(gyroBias, last_gyroBias, sizeof(gyroBias)); // restore last calibration
//#if !CONFIG_SENSOR_USE_6_SIDE_CALIBRATION
//		LOG_INF("Accelerometer bias: %.5f %.5f %.5f", (double)accelBias[0], (double)accelBias[1], (double)accelBias[2]);
//#endif
//		LOG_INF("Gyroscope bias: %.5f %.5f %.5f", (double)gyroBias[0], (double)gyroBias[1], (double)gyroBias[2]);
//		sensor_calibration_validate(); // additionally verify old calibration
		return;
	}

	LOG_INF("Finished calibration");
	sensor_fusion_invalidate();
	set_led(SYS_LED_PATTERN_ONESHOT_COMPLETE, SYS_LED_PRIORITY_SENSOR);
}

#if CONFIG_SENSOR_USE_6_SIDE_CALIBRATION
void sensor_calibrate_6_side(const sensor_imu_t *sensor_imu, const struct i2c_dt_spec *dev_i2c)
{
//	float last_accBAinv[4][3];
//	memcpy(last_accBAinv, accBAinv, sizeof(accBAinv));
	LOG_INF("Calibrating main accelerometer 6-side offset");
	LOG_INF("Rest the device on a stable surface");

	sensor_calibration_clear_6_side();
	sensor_6_sideBias(sensor_imu, dev_i2c);
	sys_write(MAIN_ACC_6_BIAS_ID, &retained.accBAinv, accBAinv, sizeof(accBAinv));
	LOG_INF("Accelerometer matrix:");
	for (int i = 0; i < 3; i++)
		LOG_INF("%.5f %.5f %.5f %.5f", (double)accBAinv[0][i], (double)accBAinv[1][i], (double)accBAinv[2][i], (double)accBAinv[3][i]);
	if (sensor_calibration_validate_6_side())
	{
//		set_led(SYS_LED_PATTERN_OFF, SYS_LED_PRIORITY_SENSOR);
//		LOG_INF("Restoring previous calibration");
//		memcpy(accBAinv, last_accBAinv, sizeof(accBAinv)); // restore last calibration
//		LOG_INF("Accelerometer matrix:");
//		for (int i = 0; i < 3; i++)
//			LOG_INF("%.5f %.5f %.5f %.5f", (double)accBAinv[0][i], (double)accBAinv[1][i], (double)accBAinv[2][i], (double)accBAinv[3][i]);
//		sensor_calibration_validate_6_side(); // additionally verify old calibration
		return;
	}

	LOG_INF("Finished calibration");
	set_led(SYS_LED_PATTERN_ONESHOT_COMPLETE, SYS_LED_PRIORITY_SENSOR);
}
#endif

void sensor_sample_mag(const float a[3], const float m[3])
{
	magneto_sample(m[0], m[1], m[2], ata, &norm_sum, &sample_count); // 400us
	int new_mag_progress = mag_progress;
	new_mag_progress |= (-1.2f < a[0] && a[0] < -0.8f ? 1 << 0 : 0) | (1.2f > a[0] && a[0] > 0.8f ? 1 << 1 : 0) | // dumb check if all accel axes were reached for calibration, assume the user is intentionally doing this
		(-1.2f < a[1] && a[1] < -0.8f ? 1 << 2 : 0) | (1.2f > a[1] && a[1] > 0.8f ? 1 << 3 : 0) |
		(-1.2f < a[2] && a[2] < -0.8f ? 1 << 4 : 0) | (1.2f > a[2] && a[2] > 0.8f ? 1 << 5 : 0);
	if (new_mag_progress > mag_progress && new_mag_progress == last_mag_progress)
	{
		if (k_uptime_get() > mag_progress_time)
		{
			mag_progress = new_mag_progress;
			//LOG_INF("Magnetometer calibration progress: %d", new_mag_progress);
			LOG_INF("Magnetometer calibration progress: %s %s %s %s %s %s" , (new_mag_progress & 0x01) ? "-X" : "--", (new_mag_progress & 0x02) ? "+X" : "--", (new_mag_progress & 0x04) ? "-Y" : "--", (new_mag_progress & 0x08) ? "+Y" : "--", (new_mag_progress & 0x10) ? "-Z" : "--", (new_mag_progress & 0x20) ? "+Z" : "--");
			set_led(SYS_LED_PATTERN_ONESHOT_PROGRESS, SYS_LED_PRIORITY_SENSOR);
		}
	}
	else
	{
		mag_progress_time = k_uptime_get() + 1000;
		last_mag_progress = new_mag_progress;
	}
	if (mag_progress == 0b111111)
		set_led(SYS_LED_PATTERN_FLASH, SYS_LED_PRIORITY_SENSOR); // Magnetometer calibration is ready to apply
}

void sensor_calibrate_mag(void)
{
	float last_magBAinv[4][3];
	memcpy(last_magBAinv, magBAinv, sizeof(magBAinv));
	LOG_INF("Calibrating magnetometer hard/soft iron offset");

	// max allocated 1072 bytes
	magneto_current_calibration(magBAinv, ata, norm_sum, sample_count); // 25ms
	//mag_progress |= 1 << 7;
	mag_progress = 0;
	// clear data
	memset(ata, 0, sizeof(ata));
	norm_sum = 0.0;
	sample_count = 0.0;
	sys_write(MAIN_MAG_BIAS_ID, &retained.magBAinv, magBAinv, sizeof(magBAinv));
	LOG_INF("Magnetometer matrix:");
	for (int i = 0; i < 3; i++)
		LOG_INF("%.5f %.5f %.5f %.5f", (double)magBAinv[0][i], (double)magBAinv[1][i],(double)magBAinv[2][i], (double)magBAinv[3][i]);
	if (sensor_calibration_validate_mag())
	{
		set_led(SYS_LED_PATTERN_OFF, SYS_LED_PRIORITY_SENSOR);
		LOG_INF("Restoring previous calibration");
		memcpy(magBAinv, last_magBAinv, sizeof(magBAinv)); // restore last calibration
		LOG_INF("Magnetometer matrix:");
		for (int i = 0; i < 3; i++)
			LOG_INF("%.5f %.5f %.5f %.5f", (double)magBAinv[0][i], (double)magBAinv[1][i],(double)magBAinv[2][i], (double)magBAinv[3][i]);
		sensor_calibration_validate_mag(); // additionally verify old calibration
		return;
	}

	LOG_INF("Finished calibration");
	set_led(SYS_LED_PATTERN_ONESHOT_COMPLETE, SYS_LED_PRIORITY_SENSOR);
}

int sensor_calibration_validate(void)
{
	float zero[3] = {0};
	if (!v_epsilon(accelBias, zero, 0.5) || !v_epsilon(gyroBias, zero, 50.0)) // check accel is <0.5G and gyro <50dps
	{
		sensor_calibration_clear();
		LOG_WRN("Invalidated calibration");
		LOG_WRN("The IMU may be damaged or calibration was not completed properly");
		return -1;
	}
	return 0;
}

int sensor_calibration_validate_6_side(void)
{
	float zero[3] = {0};
	float diagonal[3];
	for (int i = 0; i < 3; i++)
		diagonal[i] = accBAinv[i + 1][i];
	float magnitude = v_avg(diagonal);
	float average[3] = {magnitude, magnitude, magnitude};
	if (!v_epsilon(accBAinv[0], zero, 0.5) || !v_epsilon(diagonal, average, magnitude * 0.1f)) // check accel is <0.5G and diagonals are within 10%
	{
		sensor_calibration_clear_6_side();
		LOG_WRN("Invalidated calibration");
		LOG_WRN("The IMU may be damaged or calibration was not completed properly");
		return -1;
	}
	return 0;
}

int sensor_calibration_validate_mag(void)
{
	float zero[3] = {0};
	float diagonal[3];
	for (int i = 0; i < 3; i++)
		diagonal[i] = magBAinv[i + 1][i];
	float magnitude = v_avg(diagonal);
	float average[3] = {magnitude, magnitude, magnitude};
	if (!v_epsilon(magBAinv[0], zero, 1) || !v_epsilon(diagonal, average, MAX(magnitude * 0.2f, 0.1f))) // check offset is <1 unit and diagonals are within 20%
	{
		sensor_calibration_clear_mag();
		LOG_WRN("Invalidated calibration");
		LOG_WRN("The magnetometer may be damaged or calibration was not completed properly");
		return -1;
	}
	return 0;
}

void sensor_calibration_clear(void)
{
	memset(accelBias, 0, sizeof(accelBias));
	memset(gyroBias, 0, sizeof(gyroBias));
	sys_write(MAIN_ACCEL_BIAS_ID, &retained.accelBias, accelBias, sizeof(accelBias));
	sys_write(MAIN_GYRO_BIAS_ID, &retained.gyroBias, gyroBias, sizeof(gyroBias));

	sensor_fusion_invalidate();
}

#if CONFIG_SENSOR_USE_6_SIDE_CALIBRATION
void sensor_calibration_clear_6_side(void)
{
	memset(accBAinv, 0, sizeof(accBAinv));
	for (int i = 0; i < 3; i++) // set identity matrix
		accBAinv[i + 1][i] = 1;
	sys_write(MAIN_ACC_6_BIAS_ID, &retained.accBAinv, accBAinv, sizeof(accBAinv));
}
#endif

void sensor_calibration_clear_mag(void)
{
	memset(magBAinv, 0, sizeof(magBAinv)); // zeroed matrix will disable magnetometer in fusion
	sys_write(MAIN_MAG_BIAS_ID, &retained.magBAinv, magBAinv, sizeof(magBAinv));
}

void sensor_request_calibration(void)
{
	accelBias[0] = NAN;
	sys_write(MAIN_ACCEL_BIAS_ID, &retained.accelBias, accelBias, sizeof(accelBias));

	sensor_fusion_invalidate();
}

#if CONFIG_SENSOR_USE_6_SIDE_CALIBRATION
void sensor_request_calibration_6_side(void)
{
	accBAinv[0][0] = NAN;
	sys_write(MAIN_ACC_6_BIAS_ID, &retained.accBAinv, accBAinv, sizeof(accBAinv));
}
#endif

// TODO: setup 6 sided calibration (bias and scale, and maybe gyro ZRO?), setup temp calibration (particulary for gyro ZRO)
int sensor_offsetBias(const sensor_imu_t *sensor_imu, const struct i2c_dt_spec *dev_i2c, float *dest1, float *dest2)
{
	float rawData[3], last_a[3];
	sensor_imu->accel_read(dev_i2c, last_a);
	for (int i = 0; i < 500; i++)
	{
		sensor_imu->accel_read(dev_i2c, rawData);
		if (!v_epsilon(rawData, last_a, 0.1))
			return -1;
#if !CONFIG_SENSOR_USE_6_SIDE_CALIBRATION
		dest1[0] += rawData[0];
		dest1[1] += rawData[1];
		dest1[2] += rawData[2];
#endif
		sensor_imu->gyro_read(dev_i2c, rawData);
		dest2[0] += rawData[0];
		dest2[1] += rawData[1];
		dest2[2] += rawData[2];
		k_msleep(5);
	}
#if !CONFIG_SENSOR_USE_6_SIDE_CALIBRATION
	dest1[0] /= 500.0f;
	dest1[1] /= 500.0f;
	dest1[2] /= 500.0f;
	if (dest1[0] > 0.9f)
		dest1[0] -= 1.0f; // Remove gravity from the x-axis accelerometer bias calculation
	else if (dest1[0] < -0.9f)
		dest1[0] += 1.0f; // Remove gravity from the x-axis accelerometer bias calculation
	else if (dest1[1] > 0.9f)
		dest1[1] -= 1.0f; // Remove gravity from the y-axis accelerometer bias calculation
	else if (dest1[1] < -0.9f)
		dest1[1] += 1.0f; // Remove gravity from the y-axis accelerometer bias calculation
	else if (dest1[2] > 0.9f)
		dest1[2] -= 1.0f; // Remove gravity from the z-axis accelerometer bias calculation
	else if (dest1[2] < -0.9f)
		dest1[2] += 1.0f; // Remove gravity from the z-axis accelerometer bias calculation
	else
		return -1;
#endif
	dest2[0] /= 500.0f;
	dest2[1] /= 500.0f;
	dest2[2] /= 500.0f;
	return 0;
}

#if CONFIG_SENSOR_USE_6_SIDE_CALIBRATION
static int isAccRest(float *acc, float *pre_acc, float threshold, int *t, int restdelta)
{
	float delta_x = acc[0] - pre_acc[0];
	float delta_y = acc[1] - pre_acc[1];
	float delta_z = acc[2] - pre_acc[2];

	float norm_diff = sqrt(delta_x * delta_x + delta_y * delta_y + delta_z * delta_z);

	if (norm_diff <= threshold)
		*t += restdelta;
	else
		*t = 0;

	if (*t > 2000)
		return 1;
	return 0;
}

void sensor_6_sideBias(const sensor_imu_t *sensor_imu, const struct i2c_dt_spec *dev_i2c)
{
	// Acc 6 side calibrate
	float rawData[3];
	float pre_acc[3] = {0};

	const float THRESHOLD_ACC = 0.05f;
	int resttime = 0;

	mag_progress = 0; // reusing ata, so guarantee cleared mag progress
	memset(ata, 0, sizeof(ata));
	norm_sum = 0.0;
	sample_count = 0.0;
	int c = 0;
	printk("Starting accelerometer calibration.\n");
	while (1)
	{
		printk("Waiting for a resting state...\n");
		while (1)
		{
			sensor_imu->accel_read(dev_i2c, &rawData[0]);
			int rest = isAccRest(rawData, pre_acc, THRESHOLD_ACC, &resttime, 100);
			pre_acc[0] = rawData[0];
			pre_acc[1] = rawData[1];
			pre_acc[2] = rawData[2];

			if (rest == 1)
			{
				printk("Rest detected, starting recording. Please do not move. %d\n", c);
				k_msleep(1000);

				for (int i = 0; i < 100; i++)
				{
					sensor_imu->accel_read(dev_i2c, &rawData[0]);
					magneto_sample(rawData[0], rawData[1], rawData[2], ata, &norm_sum, &sample_count);
					if (i % 10 == 0)
						printk("#");
					k_msleep(10);
				}
				printk("Recorded values!\n");
				printk("%d side done \n", c);
				c++;
				k_msleep(1000);
				break;
			}
			k_msleep(100);
		}
		if(c >= 6) break;
		printk("Waiting for the next side... %d \n", c);
		while (1)
		{
			k_msleep(100);
			sensor_imu->accel_read(dev_i2c, &rawData[0]);
			int rest = isAccRest(rawData,pre_acc,THRESHOLD_ACC,&resttime, 100);
			pre_acc[0] = rawData[0];
			pre_acc[1] = rawData[1];
			pre_acc[2] = rawData[2];

			if (rest == 0)
			{
				resttime = 0;
				break;
			}

		}
		k_msleep(5);
	}
	

	printk("Calculating the data....\n");
	k_msleep(500);
	magneto_current_calibration(accBAinv, ata, norm_sum, sample_count);

	printk("Calibration is complete.\n");
}
#endif
```

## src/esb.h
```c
#ifndef SLIMENRF_ESB
#define SLIMENRF_ESB

#include <esb.h>
#include <nrfx_timer.h>

// TODO: timer?
#define LAST_RESET_LIMIT 10
extern uint8_t last_reset;
// TODO: move to esb/timer
//extern const nrfx_timer_t m_timer;
extern bool esb_state;
extern bool timer_state;
extern bool send_data;
// TODO: esb/sensor?
extern uint16_t led_clock;
extern uint32_t led_clock_offset;

void event_handler(struct esb_evt const *event);
int clocks_start(void);
int esb_initialize(bool);
void esb_deinitialize(void);

void esb_set_addr_discovery(void);
void esb_set_addr_paired(void);

void esb_pair(void);
void esb_reset_pair(void);

void esb_write(uint8_t *data); // TODO: give packets some names

bool esb_ready(void);

#endif
```
